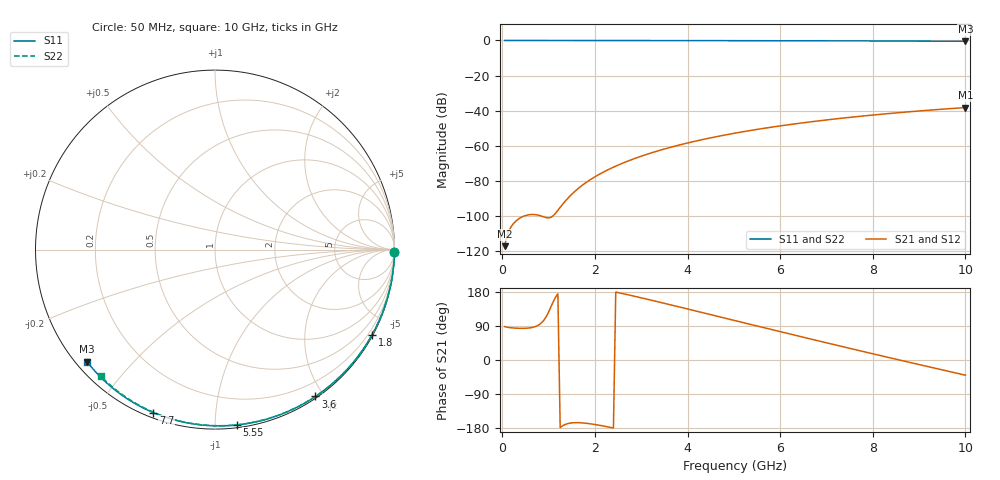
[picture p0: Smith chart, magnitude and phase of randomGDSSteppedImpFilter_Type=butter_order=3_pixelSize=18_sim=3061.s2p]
! freq	dB(S11)	phase(S11)	dB(S12)	phase(S12)
!  dB(S21)	phase(S21)	dB(S22)	phase(S22)
!S-par simulation data
#  GHz  S  DB  R 50
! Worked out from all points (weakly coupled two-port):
!   200 points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, 50 MHz to 10 GHz, reference 50 ohm
!   highest |S21| = -38.15 dB at 10 GHz (marker M1); lowest = -117.0 dB at 50 MHz (marker M2)
!   lowest |S11| = -0.5 dB at 10 GHz (marker M3), VSWR 37.14, Z = 1.54 - j18.8 ohm
!   |S11| at or under -10 dB: nowhere
!   |S22| runs from -0.4 to 0.0 dB; largest |S21 - S12| = 0
!   S11 on the Smith chart (normalised r, x): 50 MHz: open; 1.8 GHz: 0.03, -3.94; 3.6 GHz: 0.02, -1.90; 5.55 GHz: 0.02, -1.13; 7.7 GHz: 0.02, -0.69; 10 GHz: 0.03, -0.38
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0.05  -0.00 -0.8  -116.98 88.1  -116.98 88.1  -0.00 -0.8
0.45  -0.01 -7.2  -100.05 83.5  -100.05 83.5  -0.01 -6.9
0.9  -0.02 -14.4  -100.36 105.4  -100.36 105.4  -0.02 -13.6
1.75  -0.04 -27.7  -81.89 -166.2  -81.89 -166.2  -0.03 -26.3
1.8  -0.04 -28.5  -80.94 -166.8  -80.94 -166.8  -0.03 -27.0
1.85  -0.04 -29.3  -80.04 -167.5  -80.04 -167.5  -0.04 -27.8
2.15  -0.04 -33.9  -75.31 -173.4  -75.31 -173.4  -0.04 -32.2
2.35  -0.05 -36.9  -72.67 -178.2  -72.67 -178.2  -0.04 -35.1
2.55  -0.05 -40.0  -70.32 176.6  -70.32 176.6  -0.05 -38.0
2.95  -0.06 -46.0  -66.27 165.5  -66.27 165.5  -0.06 -43.7
3.4  -0.07 -52.7  -62.48 152.5  -62.48 152.5  -0.07 -50.1
3.6  -0.07 -55.6  -60.99 146.6  -60.99 146.6  -0.07 -52.9
3.9  -0.08 -60.0  -58.94 137.7  -58.94 137.7  -0.08 -57.0
4.3  -0.09 -65.7  -56.49 125.7  -56.49 125.7  -0.09 -62.5
5.05  -0.12 -76.2  -52.59 103.2  -52.59 103.2  -0.11 -72.5
5.55  -0.14 -83.0  -50.37 88.3  -50.37 88.3  -0.13 -78.9
6.1  -0.16 -90.3  -48.22 71.9  -48.22 71.9  -0.15 -85.9
6.7  -0.19 -98.1  -46.14 54.2  -46.14 54.2  -0.18 -93.4
7.7  -0.25 -110.7  -43.19 25.0  -43.19 25.0  -0.24 -105.4
8.35  -0.30 -118.8  -41.55 6.4  -41.55 6.4  -0.29 -113.1
9.2  -0.38 -129.1  -39.68 -17.7  -39.68 -17.7  -0.36 -122.9
10  -0.47 -138.8  -38.15 -40.0  -38.15 -40.0  -0.45 -132.0
